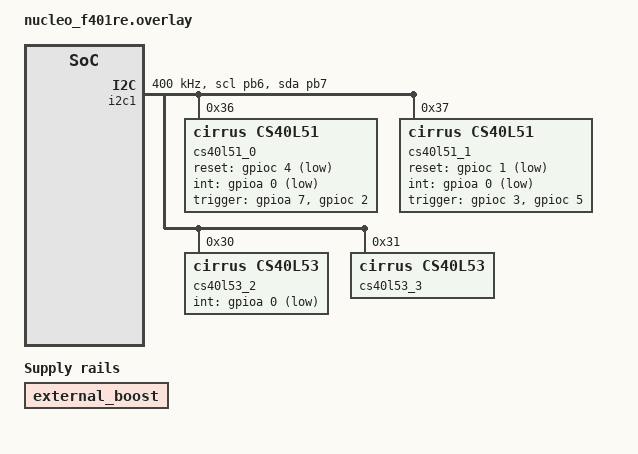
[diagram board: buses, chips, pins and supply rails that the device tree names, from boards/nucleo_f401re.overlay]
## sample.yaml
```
sample:
  name: Cirrus Logic CS40L5x haptic driver sample
tests:
  sample.drivers.haptics.cs40l5x:
    build_only: true
    tags: haptics
    platform_allow:
      - nucleo_f401re
      - crd40l50
```

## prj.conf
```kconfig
CONFIG_FLASH=y
CONFIG_GPIO=y
CONFIG_HAPTICS=y
CONFIG_I2C=y
CONFIG_LOG=y
CONFIG_REGULATOR=y

# Demonstrate PM runtime features
CONFIG_PM_DEVICE=y
CONFIG_PM_DEVICE_RUNTIME=y

# Enable custom shell sample for demonstration
CONFIG_SHELL=y
CONFIG_HAPTICS_SHELL=y

# All CS40L5x Kconfig options and their defaults
CONFIG_HAPTICS_CIRRUS_CALIBRATION=y
CONFIG_HAPTICS_CIRRUS_CLICK_COMPENSATION=y
CONFIG_HAPTICS_CIRRUS_DYNAMIC_F0=y
CONFIG_HAPTICS_CS40L5X_CUSTOM_EFFECTS=y
CONFIG_HAPTICS_CS40L5X_DSP_LOGGER=y
CONFIG_HAPTICS_CS40L5X_PM_ACTIVE_TIMEOUT=8000
CONFIG_HAPTICS_CS40L5X_PM_STDBY_TIMEOUT=160000
```

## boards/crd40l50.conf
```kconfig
# Required to use shell interface with the SEGGER J-Link
CONFIG_SHELL_BACKEND_RTT=y

# Reduce size of the sample application
CONFIG_SHELL_MINIMAL=y
```

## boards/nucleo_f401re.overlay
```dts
/*
 * Copyright (c) 2025 Cirrus Logic, Inc.
 *
 * SPDX-License-Identifier: Apache-2.0
 */

#include <zephyr/dt-bindings/i2c/i2c.h>

/ {
	aliases {
		haptic0 = &cs40l51_0;
		haptic1 = &cs40l51_1;
		haptic2 = &cs40l53_2;
		haptic3 = &cs40l53_3;
	};

	external_boost: external_boost {
		compatible = "regulator-fixed";
		regulator-name = "boost";
		regulator-always-on;
	};
};

&i2c1 {
	status = "okay";

	clock-frequency = <I2C_BITRATE_FAST>;

	pinctrl-0 = <&i2c1_scl_pb6 &i2c1_sda_pb7>;
	pinctrl-1 = <&analog_pb6 &analog_pb7>;
	pinctrl-names = "default", "sleep";

	cs40l51_0: cs40l51@36 {
		compatible = "cirrus,cs40l51";
		reg = <0x36>;

		external-boost = <&external_boost>;

		reset-gpios = <&gpioc 4 (GPIO_ACTIVE_LOW | GPIO_PULL_UP)>;
		int-gpios = <&gpioa 0 (GPIO_ACTIVE_LOW | GPIO_PULL_UP)>;

		trigger-mapping = <11 12>;
		trigger-gpios = <&gpioa 7 GPIO_PULL_UP>,
				<&gpioc 2 GPIO_PULL_UP>;

		status = "okay";
	};

	cs40l51_1: cs40l51@37 {
		compatible = "cirrus,cs40l51";
		reg = <0x37>;

		external-boost = <&external_boost>;

		reset-gpios = <&gpioc 1 (GPIO_ACTIVE_LOW | GPIO_PULL_UP)>;
		int-gpios = <&gpioa 0 (GPIO_ACTIVE_LOW | GPIO_PULL_UP)>;

		trigger-mapping = <11 12>;
		trigger-gpios = <&gpioc 3 GPIO_PULL_UP>,
				<&gpioc 5 GPIO_PULL_UP>;

		status = "okay";
	};

	cs40l53_2: cs40l53@30 {
		compatible = "cirrus,cs40l53";
		reg = <0x30>;

		external-boost = <&external_boost>;

		int-gpios = <&gpioa 0 (GPIO_ACTIVE_LOW | GPIO_PULL_UP)>;

		status = "okay";
	};

	cs40l53_3: cs40l53@31 {
		compatible = "cirrus,cs40l53";
		reg = <0x31>;

		external-boost = <&external_boost>;

		status = "okay";
	};
};

&usart1 {
	status = "disabled";
};
```

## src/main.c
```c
/*
 * Copyright (c) 2025 Cirrus Logic, Inc.
 *
 * SPDX-License-Identifier: Apache-2.0
 */

#include <errno.h>
#include <zephyr/device.h>
#include <zephyr/devicetree.h>
#include <zephyr/drivers/haptics.h>
#include <zephyr/drivers/haptics/cs40l5x.h>
#include <zephyr/kernel.h>
#include <zephyr/logging/log.h>
#include <zephyr/pm/device_runtime.h>
#include <zephyr/shell/shell.h>
#include <zephyr/sys/util.h>

LOG_MODULE_REGISTER(main);

const struct device *cs40l5x[] = {
	DEVICE_DT_GET(DT_ALIAS(haptic0)),
	DEVICE_DT_GET(DT_ALIAS(haptic1)),
	DEVICE_DT_GET(DT_ALIAS(haptic2)),
	DEVICE_DT_GET(DT_ALIAS(haptic3)),
};

static void cs40l5x_dummy_callback(const struct device *const dev, const uint32_t errors,
				   void *const user_data)
{
	LOG_INF("fatal errors detected (0x%08X)", errors);
}

int main(void)
{
	int ret;

	for (int i = 0; i < ARRAY_SIZE(cs40l5x); i++) {
		if (!cs40l5x[i] || !device_is_ready(cs40l5x[i])) {
			LOG_ERR("device not available: %s", cs40l5x[i]->name);
			return -ENODEV;
		}

		if (IS_ENABLED(CONFIG_PM_DEVICE_RUNTIME)) {
			ret = pm_device_runtime_enable(cs40l5x[i]);
			if (ret < 0) {
				LOG_ERR("PM runtime disabled for %s (%d)", cs40l5x[i]->name, ret);
				return ret;
			}
		}

		(void)haptics_register_error_callback(cs40l5x[i], cs40l5x_dummy_callback, NULL);
	}

	return 0;
}
```
